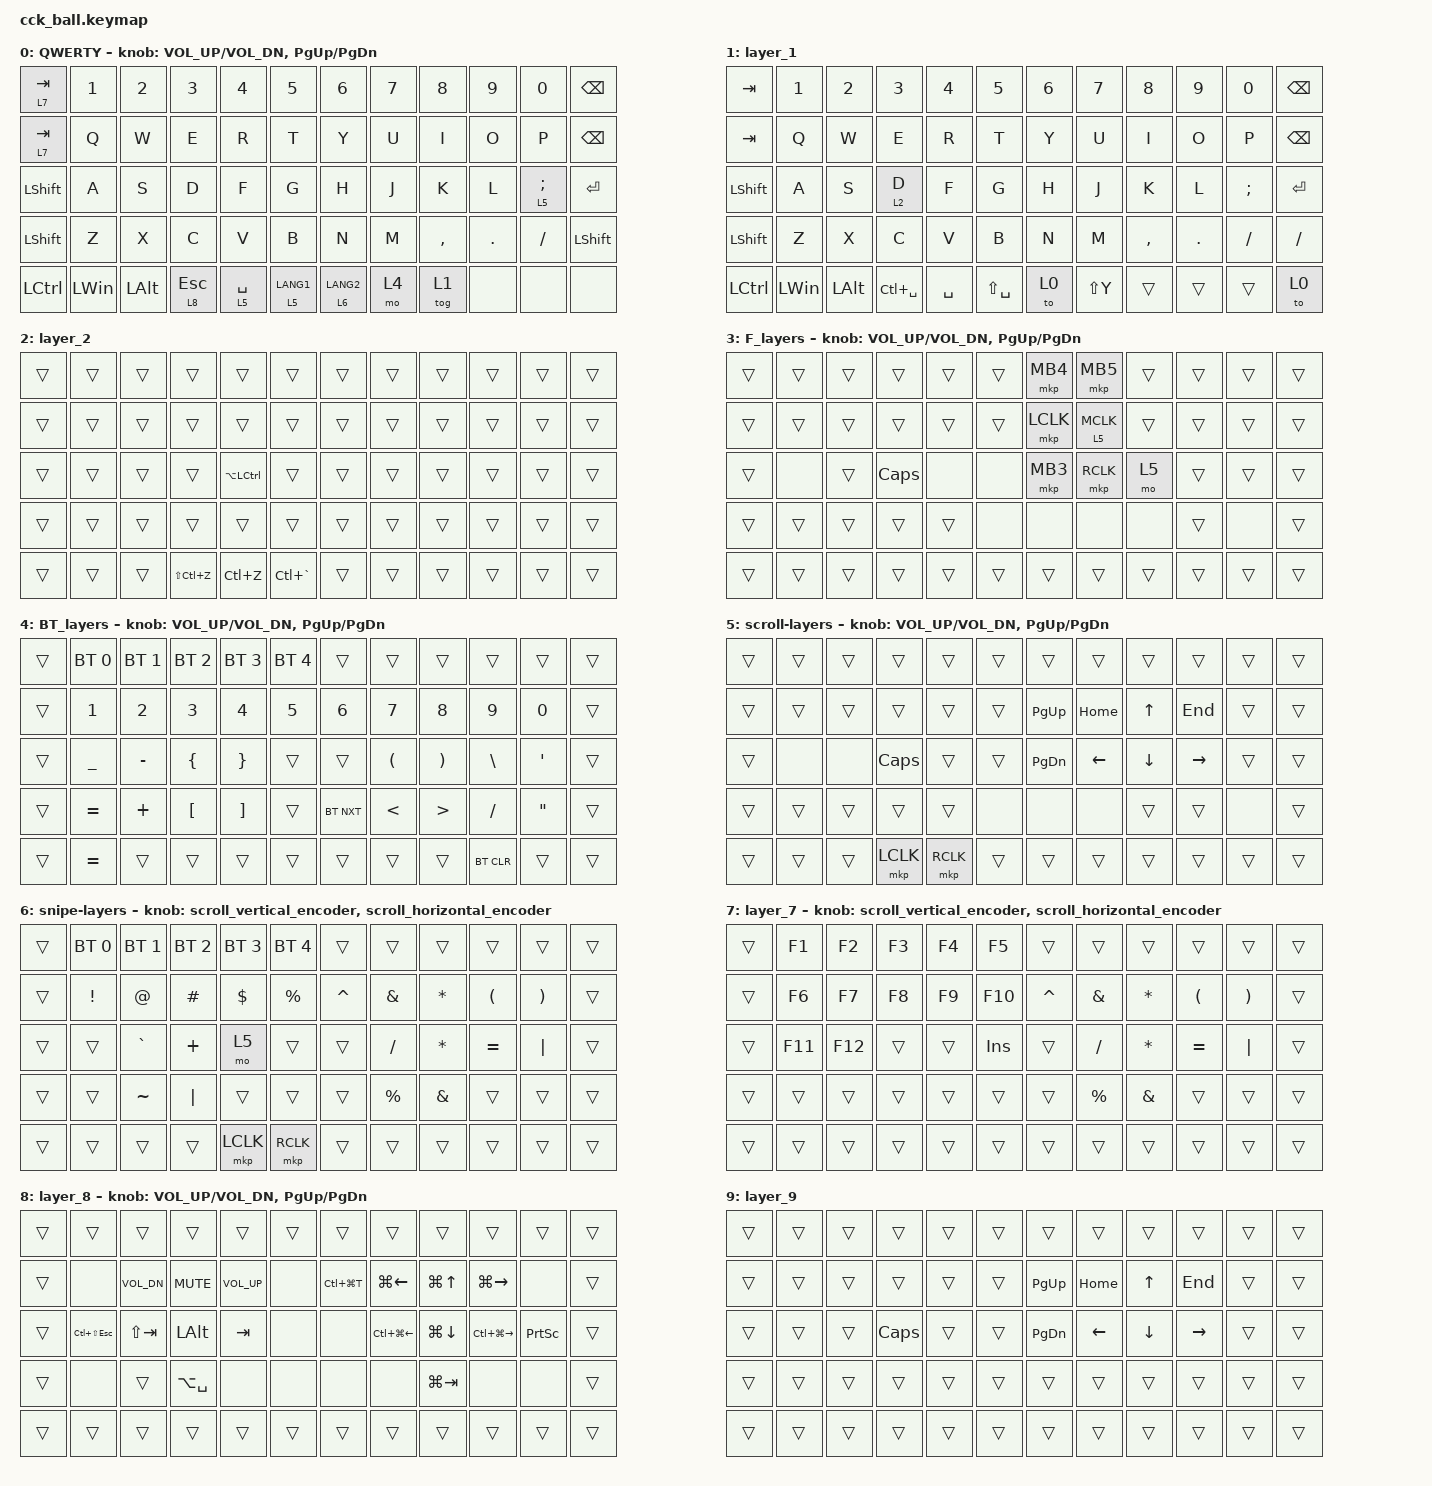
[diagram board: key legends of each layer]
#define ZMK_POINTING_DEFAULT_MOVE_VAL 1000 // 600
#define ZMK_POINTING_DEFAULT_SCRL_VAL 12   // 10

#include <input/processors.dtsi>
#include <zephyr/dt-bindings/input/input-event-codes.h>
#include <behaviors.dtsi>
#include <dt-bindings/zmk/bt.h>
#include <dt-bindings/zmk/keys.h>
#include <dt-bindings/zmk/pointing.h>

&mmv_input_listener { input-processors = <&zip_xy_scaler 2 1>; };

&msc_input_listener { input-processors = <&zip_scroll_scaler 2 1>; };

// マウスボタン押下でautomouseレイヤー（Layer 3）を延長

&mkp_input_listener {
    input-processors = <&zip_temp_layer 3 500>;  // Layer 3を500ms延長
};

// automouseレイヤー設定（トラックボール移動で有効化）

&zip_temp_layer {
    excluded-positions = <
        // Layer 3の右側マウスボタンの位置
        // Row 1 (0-indexed): MB4=6, MB5=7
        // Row 2: LCLK=18, MCLK=19
        // Row 3: LCLK=30, RCLK=31, mo 5=32
        // Row 5: LCLK=52, RCLK=53
        6 7 18 19 30 31 32 52 53
    >;
};

&msc {
    acceleration-exponent = <0>;      // 0
    time-to-max-speed-ms = <300>;       // 300
    delay-ms = <0>;                   // 0
};

&mmv {
    time-to-max-speed-ms = <500>;
    acceleration-exponent = <1>;
    trigger-period-ms = <16>;
};

&soft_off { hold-time-ms = <2000>; };

&lt {
    tapping-term-ms = <200>;  // Layer Tap response time (default: 200ms)
};

/ {
    // 上下滚动编码器行为

    scroll_vertical_encoder: scroll_vertical_encoder {
        compatible = "zmk,behavior-sensor-rotate";
        #sensor-binding-cells = <0>;
        bindings = <&msc SCRL_DOWN>, <&msc SCRL_UP>;

        tap-ms = <100>;
    };

    // 左右滚动编码器行为

    scroll_horizontal_encoder: scroll_horizontal_encoder {
        compatible = "zmk,behavior-sensor-rotate";
        #sensor-binding-cells = <0>;
        bindings = <&msc SCRL_LEFT>, <&msc SCRL_RIGHT>;

        tap-ms = <100>;
    };

    behaviors {
        // Middle click on tap, Layer 5 (scroll) on hold

        lt_mclk: layer_tap_middle_click {
            compatible = "zmk,behavior-hold-tap";
            #binding-cells = <2>;
            flavor = "tap-preferred";
            tapping-term-ms = <200>;
            bindings = <&mo>, <&mkp>;
        };
    };

    keymap {
        compatible = "zmk,keymap";

        // Layer 0: Default

        QWERTY {
            bindings = <
&lt 7 TAB         &kp N1        &kp N2        &kp N3     &kp N4       &kp N5       &kp N6       &kp N7  &kp N8     &kp N9   &kp N0      &kp BACKSPACE
&lt 7 TAB         &kp Q         &kp W         &kp E      &kp R        &kp T        &kp Y        &kp U   &kp I      &kp O    &kp P       &kp BACKSPACE
&kp LEFT_SHIFT    &kp A         &kp S         &kp D      &kp F        &kp G        &kp H        &kp J   &kp K      &kp L    &lt 5 SEMI  &kp ENTER
&kp LEFT_SHIFT    &kp Z         &kp X         &kp C      &kp V        &kp B        &kp N        &kp M   &kp COMMA  &kp DOT  &kp SLASH   &kp LEFT_SHIFT
&kp LEFT_CONTROL  &kp LEFT_WIN  &kp LEFT_ALT  &lt 8 ESC  &lt 5 SPACE  &lt 5 LANG1  &lt 6 LANG2  &mo 4   &tog 1     &none    &none       &none
            >;

            sensor-bindings = <&inc_dec_kp C_VOL_UP C_VOL_DN &inc_dec_kp PG_UP PG_DN>;
        };

        // Layer 1: Gaming

        layer_1 {
            bindings = <
&kp TAB    &kp N1        &kp N2    &kp N3         &kp N4     &kp N5         &kp N6  &kp N7     &kp N8     &kp N9   &kp N0    &kp BSPC
&kp TAB    &kp Q         &kp W     &kp E          &kp R      &kp T          &kp Y   &kp U      &kp I      &kp O    &kp P     &kp BSPC
&kp LSHFT  &kp A         &kp S     &lt 2 D        &kp F      &kp G          &kp H   &kp J      &kp K      &kp L    &kp SEMI  &kp RET
&kp LSHFT  &kp Z         &kp X     &kp C          &kp V      &kp B          &kp N   &kp M      &kp COMMA  &kp DOT  &kp FSLH  &kp FSLH
&kp LCTRL  &kp LEFT_WIN  &kp LALT  &kp LC(SPACE)  &kp SPACE  &kp LS(SPACE)  &to 0   &kp LS(Y)  &trans     &trans   &trans    &to 0
            >;
        };

        // Layer 2: Gaming Sub

        layer_2 {
            bindings = <
&trans  &trans  &trans  &trans         &trans         &trans         &trans  &trans  &trans  &trans  &trans  &trans
&trans  &trans  &trans  &trans         &trans         &trans         &trans  &trans  &trans  &trans  &trans  &trans
&trans  &trans  &trans  &trans         &kp LA(LCTRL)  &trans         &trans  &trans  &trans  &trans  &trans  &trans
&trans  &trans  &trans  &trans         &trans         &trans         &trans  &trans  &trans  &trans  &trans  &trans
&trans  &trans  &trans  &kp LS(LC(Z))  &kp LC(Z)      &kp LC(GRAVE)  &trans  &trans  &trans  &trans  &trans  &trans
            >;
        };

        // Layer 3: Mouse Active Layer (Auto Mouse) & Functions

        F_layers {
            bindings = <
&trans  &trans  &trans  &trans        &trans  &trans  &mkp MB4   &mkp MB5         &trans  &trans  &trans  &trans
&trans  &trans  &trans  &trans        &trans  &trans  &mkp LCLK  &lt_mclk 5 MCLK  &trans  &trans  &trans  &trans
&trans  &none   &trans  &kp CAPSLOCK  &none   &none   &mkp MB3   &mkp RCLK        &mo 5   &trans  &trans  &trans
&trans  &trans  &trans  &trans        &trans  &none   &none      &none            &none   &trans  &none   &trans
&trans  &trans  &trans  &trans        &trans  &trans  &trans     &trans           &trans  &trans  &trans  &trans
            >;

            sensor-bindings = <&inc_dec_kp C_VOL_UP C_VOL_DN &inc_dec_kp PG_UP PG_DN>;
        };

        // Layer 4: Bluetooth

        BT_layers {
            bindings = <
&trans  &bt BT_SEL 0  &bt BT_SEL 1  &bt BT_SEL 2  &bt BT_SEL 3  &bt BT_SEL 4  &trans      &trans    &trans    &trans         &trans   &trans
&trans  &kp N1        &kp N2        &kp N3        &kp N4        &kp N5        &kp N6      &kp N7    &kp N8    &kp N9         &kp N0   &trans
&trans  &kp UNDER     &kp MINUS     &kp LBRC      &kp RBRC      &trans        &trans      &kp LPAR  &kp RPAR  &kp BACKSLASH  &kp SQT  &trans
&trans  &kp EQUAL     &kp PLUS      &kp LBKT      &kp RBKT      &trans        &bt BT_NXT  &kp LT    &kp GT    &kp SLASH      &kp DQT  &trans
&trans  &kp EQUAL     &trans        &trans        &trans        &trans        &trans      &trans    &trans    &bt BT_CLR     &trans   &trans
            >;

            sensor-bindings = <&inc_dec_kp C_VOL_UP C_VOL_DN &inc_dec_kp PG_UP PG_DN>;
        };

        // Layer 5: Scroll Layer (with Nav/Click keys)

        scroll-layers {
            bindings = <
&trans  &trans  &trans  &trans     &trans     &trans  &trans     &trans    &trans    &trans     &trans  &trans
&trans  &trans  &trans  &trans     &trans     &trans  &kp PG_UP  &kp HOME  &kp UP    &kp END    &trans  &trans
&trans  &none   &none   &kp CAPS   &trans     &trans  &kp PG_DN  &kp LEFT  &kp DOWN  &kp RIGHT  &trans  &trans
&trans  &trans  &trans  &trans     &trans     &none   &none      &none     &trans    &trans     &none   &trans
&trans  &trans  &trans  &mkp LCLK  &mkp RCLK  &trans  &trans     &trans    &trans    &trans     &trans  &trans
            >;

            sensor-bindings = <&inc_dec_kp C_VOL_UP C_VOL_DN &inc_dec_kp PG_UP PG_DN>;
        };

        // Layer 6: Snipe / Symbols

        snipe-layers {
            bindings = <
&trans  &bt BT_SEL 0  &bt BT_SEL 1  &bt BT_SEL 2  &bt BT_SEL 3  &bt BT_SEL 4  &trans     &trans     &trans     &trans     &trans    &trans
&trans  &kp EXCL      &kp AT        &kp HASH      &kp DLLR      &kp PRCNT     &kp CARET  &kp AMPS   &kp ASTRK  &kp LPAR   &kp RPAR  &trans
&trans  &trans        &kp GRAVE     &kp PLUS      &mo 5         &trans        &trans     &kp FSLH   &kp ASTRK  &kp EQUAL  &kp PIPE  &trans
&trans  &trans        &kp TILDE     &kp PIPE      &trans        &trans        &trans     &kp PRCNT  &kp AMPS   &trans     &trans    &trans
&trans  &trans        &trans        &trans        &mkp LCLK     &mkp RCLK     &trans     &trans     &trans     &trans     &trans    &trans
            >;

            sensor-bindings = <&scroll_vertical_encoder &scroll_horizontal_encoder>;
        };

        // Layer 7: Function Keys

        layer_7 {
            bindings = <
&trans  &kp F1   &kp F2   &kp F3  &kp F4  &kp F5   &trans     &trans     &trans     &trans     &trans    &trans
&trans  &kp F6   &kp F7   &kp F8  &kp F9  &kp F10  &kp CARET  &kp AMPS   &kp ASTRK  &kp LPAR   &kp RPAR  &trans
&trans  &kp F11  &kp F12  &trans  &trans  &kp INS  &trans     &kp FSLH   &kp ASTRK  &kp EQUAL  &kp PIPE  &trans
&trans  &trans   &trans   &trans  &trans  &trans   &trans     &kp PRCNT  &kp AMPS   &trans     &trans    &trans
&trans  &trans   &trans   &trans  &trans  &trans   &trans     &trans     &trans     &trans     &trans    &trans
            >;

            sensor-bindings = <&scroll_vertical_encoder &scroll_horizontal_encoder>;
        };

        // Layer 8: Application & Window Control

        layer_8 {
            bindings = <
&trans  &trans           &trans        &trans         &trans        &trans  &trans         &trans            &trans        &trans             &trans     &trans
&trans  &none            &kp C_VOL_DN  &kp C_MUTE     &kp C_VOL_UP  &none   &kp LC(LG(T))  &kp LG(LEFT)      &kp LG(UP)    &kp LG(RIGHT)      &none      &trans
&trans  &kp LC(LS(ESC))  &kp LS(TAB)   &kp LALT       &kp TAB       &none   &none          &kp LC(LG(LEFT))  &kp LG(DOWN)  &kp LC(LG(RIGHT))  &kp PSCRN  &trans
&trans  &none            &trans        &kp LA(SPACE)  &none         &none   &none          &none             &kp LG(TAB)   &none              &none      &trans
&trans  &trans           &trans        &trans         &trans        &trans  &trans         &trans            &trans        &trans             &trans     &trans
            >;

            sensor-bindings = <&inc_dec_kp C_VOL_UP C_VOL_DN &inc_dec_kp PG_UP PG_DN>;
        };

        // Layer 9

        layer_9 {
            bindings = <
&trans  &trans  &trans  &trans        &trans  &trans  &trans         &trans          &trans          &trans           &trans  &trans
&trans  &trans  &trans  &trans        &trans  &trans  &kp PG_UP      &kp HOME        &kp UP_ARROW    &kp END          &trans  &trans
&trans  &trans  &trans  &kp CAPSLOCK  &trans  &trans  &kp PAGE_DOWN  &kp LEFT_ARROW  &kp DOWN_ARROW  &kp RIGHT_ARROW  &trans  &trans
&trans  &trans  &trans  &trans        &trans  &trans  &trans         &trans          &trans          &trans           &trans  &trans
&trans  &trans  &trans  &trans        &trans  &trans  &trans         &trans          &trans          &trans           &trans  &trans
            >;
        };
    };
};
